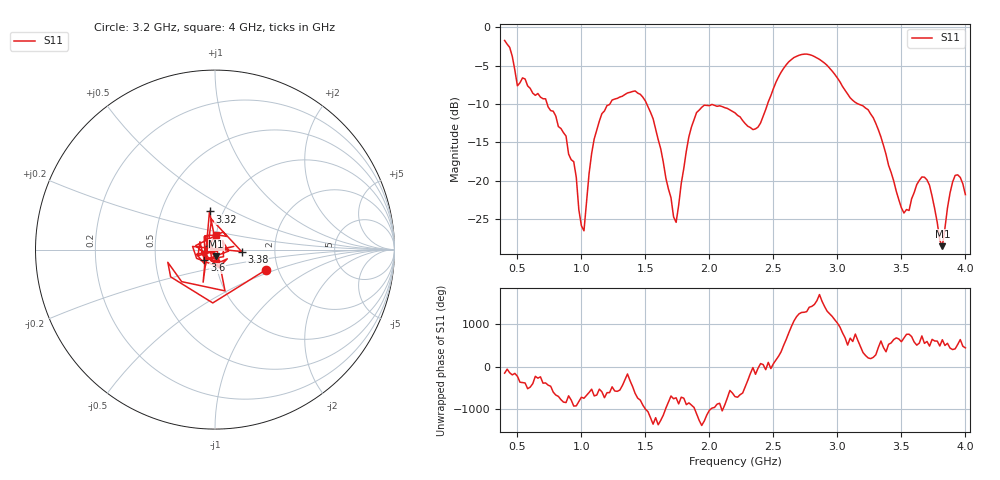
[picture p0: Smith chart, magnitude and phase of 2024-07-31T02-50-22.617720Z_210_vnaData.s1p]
!Created with skrf (http://scikit-rf.org).
# Hz S RI R 50.0
!freq ReS11 ImS11
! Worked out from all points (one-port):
!   181 points, 400 MHz to 4 GHz, reference 50 ohm
!   lowest |S11| = -28.5 dB at 3.82 GHz (marker M1), VSWR 1.08, Z = 50.5 - j3.76 ohm
!   |S11| at or under -10 dB: 732.7 MHz to 1.222 GHz (489.7 MHz wide, 50.1 % of centre); 1.51 GHz to 2.454 GHz (944.1 MHz wide, 47.6 % of centre); 3.163 GHz to end of sweep
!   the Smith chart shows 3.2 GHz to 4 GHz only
!   S11 on the Smith chart (normalised r, x): 3.2 GHz: 1.74, -0.43; 3.32 GHz: 0.86, +0.38; 3.38 GHz: 1.35, -0.03; 3.6 GHz: 0.88, -0.11; 4 GHz: 0.99, +0.16
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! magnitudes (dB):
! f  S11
! 400 MHz  -1.7
! 500 MHz  -7.6
! 720 MHz  -9.3
! 860 MHz  -13.7
! 940 MHz  -17.5
! 1.02 GHz  -26.5
! 1.1 GHz  -14.5
! 1.3 GHz  -9.1
! 1.5 GHz  -9.6
! 1.72 GHz  -24.7
! 1.76 GHz  -23.1
! 1.84 GHz  -14.2
! 1.9 GHz  -11.1
! 2.2 GHz  -11.2
! 2.38 GHz  -13.0
! 2.66 GHz  -4.0
! 2.86 GHz  -4.2
! 3.1 GHz  -9.2
! 3.2 GHz  -10.2
! 3.32 GHz  -13.4
! 3.38 GHz  -16.6
! 3.5 GHz  -23.5
! 3.56 GHz  -23.8
! 3.6 GHz  -21.5
! 3.7 GHz  -19.9
! 3.82 GHz  -28.5
! 3.92 GHz  -19.3
! 4 GHz  -21.8
